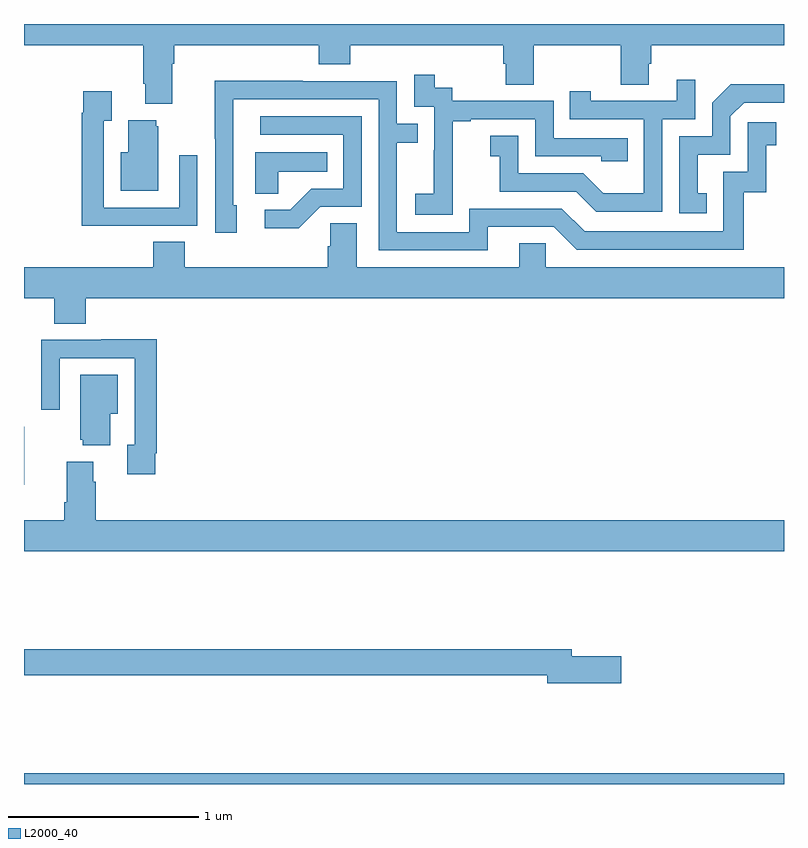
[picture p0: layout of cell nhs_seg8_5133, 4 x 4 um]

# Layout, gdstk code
import gdstk
lib = gdstk.Library(unit=1e-6, precision=1e-09)
def R(c, l, rs):  # rectangles x0, y0, x1, y1
    for r in rs: c.add(gdstk.rectangle(r[:2], r[2:], *l))
def P(c, l, *ps):  # polygons
    for p in ps: c.add(gdstk.Polygon(p, *l))
L2000_40 = (2000, 40)

nhs_seg8_5133 = lib.new_cell('nhs_seg8_5133')
R(nhs_seg8_5133, L2000_40, [(419,1157.9,423,1157.956), (419,1159.475,419.001,1159.781)])
P(nhs_seg8_5133, L2000_40, [(419.779,1161.692),(419.792,1161.692),(419.792,1161.788),(420.551,1161.788),(420.551,1161.689),(420.716,1161.689),(420.716,1161.788),(421.523,1161.788),(421.523,1161.69),(421.535,1161.69),(421.535,1161.58),(421.683,1161.58),(421.683,1161.788),(422.14,1161.788),(422.14,1161.58),(422.287,1161.58),(422.287,1161.69),(422.3,1161.69),(422.3,1161.788),(423,1161.788),(423,1161.9),(419,1161.9),(419,1161.788),(419.627,1161.788),(419.627,1161.586),(419.639,1161.586),(419.639,1161.479),(419.779,1161.479)],
  [(421.257,1161.103),(421.256,1161.103),(421.256,1161.387),(421.351,1161.387),(421.351,1161.399),(421.692,1161.399),(421.692,1161.204),(422.037,1161.204),(422.037,1161.177),(422.177,1161.177),(422.177,1161.3),(421.788,1161.3),(421.788,1161.495),(421.254,1161.495),(421.254,1161.564),(421.162,1161.564),(421.162,1161.634),(421.053,1161.634),(421.053,1161.465),(421.158,1161.465),(421.158,1161.236),(421.157,1161.236),(421.157,1161.007),(421.059,1161.007),(421.059,1160.897),(421.257,1160.897)],
  [(422.358,1161.399),(422.532,1161.399),(422.532,1161.607),(422.435,1161.607),(422.435,1161.495),(421.984,1161.495),(421.984,1161.547),(421.873,1161.547),(421.873,1161.399),(422.262,1161.399),(422.262,1161.01),(422.048,1161.01),(421.944,1161.114),(421.602,1161.114),(421.602,1161.313),(421.455,1161.313),(421.455,1161.203),(421.504,1161.203),(421.504,1161.018),(421.907,1161.018),(422.012,1160.913),(422.358,1160.913)],
  [(421.441,1160.832),(421.788,1160.832),(421.908,1160.712),(422.788,1160.712),(422.788,1161.015),(422.906,1161.015),(422.906,1161.261),(422.959,1161.261),(422.959,1161.382),(422.808,1161.382),(422.808,1161.123),(422.679,1161.123),(422.679,1160.808),(421.95,1160.808),(421.83,1160.928),(421.344,1160.928),(421.344,1160.805),(420.963,1160.805),(420.963,1161.274),(421.073,1161.274),(421.073,1161.375),(420.963,1161.375),(420.963,1161.6),(420.467,1161.6),(420.467,1161.602),(420.004,1161.602),(420.004,1161.295),(420.006,1161.295),(420.006,1160.802),(420.121,1160.802),(420.121,1160.946),(420.102,1160.946),(420.102,1161.504),(420.867,1161.504),(420.867,1160.709),(421.441,1160.709)],
  [(422.594,1161.009),(422.545,1161.009),(422.545,1161.213),(422.718,1161.213),(422.718,1161.414),(422.79,1161.486),(423,1161.486),(423,1161.584),(422.72,1161.584),(422.622,1161.486),(422.622,1161.309),(422.448,1161.309),(422.448,1160.904),(422.594,1160.904)],
  [(419.597,1160.838),(419.913,1160.838),(419.913,1161.208),(419.817,1161.208),(419.817,1160.934),(419.421,1160.934),(419.421,1161.391),(419.461,1161.391),(419.461,1161.547),(419.313,1161.547),(419.313,1161.434),(419.305,1161.434),(419.305,1160.837),(419.597,1160.837)],
  [(420.558,1160.937),(420.777,1160.937),(420.777,1161.414),(420.243,1161.414),(420.243,1161.318),(420.681,1161.318),(420.681,1161.033),(420.512,1161.033),(420.401,1160.922),(420.267,1160.922),(420.267,1160.825),(420.445,1160.825)],
  [(419.707,1161.363),(419.696,1161.363),(419.696,1161.394),(419.549,1161.394),(419.549,1161.226),(419.51,1161.226),(419.51,1161.023),(419.707,1161.023)],
  [(420.339,1161.122),(420.596,1161.122),(420.596,1161.226),(420.218,1161.226),(420.218,1161.007),(420.339,1161.007)],
  [(419.324,1160.456),(423,1160.456),(423,1160.62),(421.746,1160.62),(421.746,1160.747),(421.607,1160.747),(421.607,1160.62),(420.751,1160.62),(420.751,1160.852),(420.612,1160.852),(420.612,1160.729),(420.599,1160.729),(420.599,1160.62),(419.846,1160.62),(419.846,1160.753),(419.681,1160.753),(419.681,1160.62),(419,1160.62),(419,1160.456),(419.159,1160.456),(419.159,1160.323),(419.324,1160.323)],
  [(419.692,1159.642),(419.699,1159.642),(419.699,1160.24),(419.407,1160.24),(419.407,1160.238),(419.091,1160.238),(419.091,1159.869),(419.187,1159.869),(419.187,1160.142),(419.583,1160.142),(419.583,1159.686),(419.543,1159.686),(419.543,1159.53),(419.692,1159.53)],
  [(419.455,1159.85),(419.494,1159.85),(419.494,1160.053),(419.297,1160.053),(419.297,1159.713),(419.309,1159.713),(419.309,1159.682),(419.455,1159.682)],
  [(423,1159.288),(419.378,1159.288),(419.378,1159.49),(419.365,1159.49),(419.365,1159.597),(419.225,1159.597),(419.225,1159.384),(419.213,1159.384),(419.213,1159.288),(419,1159.288),(419,1159.124),(423,1159.124)],
  [(422.143,1158.572),(421.882,1158.572),(421.882,1158.608),(419,1158.608),(419,1158.472),(421.754,1158.472),(421.754,1158.43),(422.143,1158.43)])

lib.write_gds('nhs_seg8_5133.gds')
